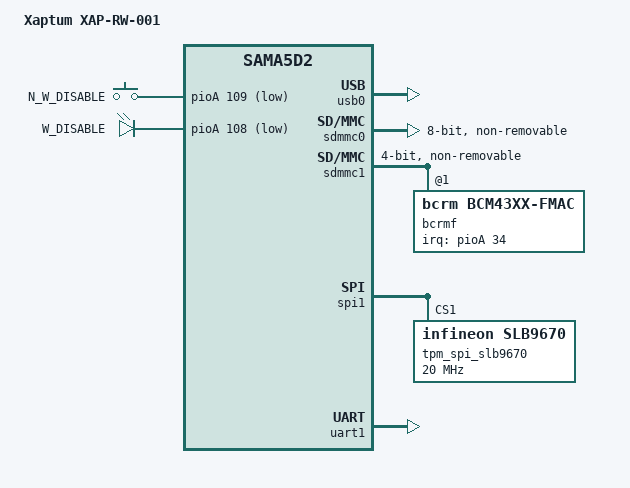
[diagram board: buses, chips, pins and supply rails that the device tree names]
/*
 * at91-sama5d2_xpt_mpcie.dts - Device Tree file for SAMA5D2 Xaptum mPCIe OC
 *
 * DAB-Embedded, 2018
 */

/dts-v1/;

#include "sama5d2.dtsi"
#include "sama5d2-pinfunc.h"
#include <dt-bindings/mfd/atmel-flexcom.h>
#include <dt-bindings/gpio/gpio.h>
#include <dt-bindings/pinctrl/at91.h>

/ {
	model = "Xaptum XAP-RW-001";
	compatible = "xaptum,xaprw001", "xaptum,xaprc001", "atmel,sama5d2", "atmel,sama5";

	chosen {
		stdout-path = "serial0:115200n8";
	};

	clocks {
		slow_xtal {
			clock-frequency = <32768>;
		};

		main_xtal {
			clock-frequency = <12000000>;
		};
	};

	ahb {
		usb0: gadget@00300000 {
			status = "okay";
		};

		usb1: ohci@00400000 {
			num-ports = <3>;
			status = "disabled";
		};

		usb2: ehci@00500000 {
			status = "disabled";
		};

		sdmmc0: sdio-host@a0000000 {
			bus-width = <8>;
			pinctrl-names = "default";
			pinctrl-0 = <&pinctrl_sdmmc0_default>;
			non-removable;
			mmc-ddr-1_8v;
			disable-wp;
			status = "okay";
		};

		sdmmc1: sdio-host@b0000000 {
			bus-width = <4>;
			pinctrl-names = "default";
			pinctrl-0 = <&pinctrl_sdmmc1_default>;
			disable-wp;
			non-removable;
			status = "okay";

			bcrmf: bcrmf@1 {
				reg = <1>;
				compatible = "bcrm,bcm43xx-fmac";
				interrupt-parent = <&pioA>;
				interrupts = <34 0>;
				interrupt-names = "host-wake";
				pinctrl-names = "default";
				pinctrl-0 = <&pinctrl_cyw4339_default>;
			};
		};

		apb {
			pmc: pmc@f0014000 {
				pmc_fast_restart {
					compatible = "atmel,sama5d2-pmc-fast-startup";
					#address-cells = <1>;
					#size-cells = <0>;

					atmel,wakeup-rtc-timer;

					wkpin: input@0 {
						reg = <0>;
					};
				};
			};

			spi1: spi@fc000000 {
				pinctrl-names = "default";
				pinctrl-0 = <&pinctrl_spi1_default>;
				status = "okay";

				tpm_spi_slb9670@1{
					compatible = "infineon,slb9670";
					reg = <1>;	/* CS1 */
					pinctrl-names = "default";
					pinctrl-0 = <&pinctrl_tpm_default>;
					spi-max-frequency = <20000000>;
				};
			};

			uart1: serial@f8020000 {
				pinctrl-names = "default";
				pinctrl-0 = <&pinctrl_uart1_default>;
				atmel,use-dma-rx;
				atmel,use-dma-tx;
				status = "okay";
			};

			pwm0: pwm@f802c000 {
				status = "disabled";
			};

			shdwc@f8048010 {
				atmel,shdwc-debouncer = <976>;
				atmel,wakeup-rtc-timer;

				input@0 {
					reg = <0>;
					atmel,wakeup-type = "low";
				};
			};

			watchdog@f8048040 {
				status = "okay";
			};

			pinctrl@fc038000 {
				pinctrl_key_gpio_default: key_gpio_default {
					pinmux = <PIN_PD13__GPIO>;
					bias-pull-up;
				};

				pinctrl_led_gpio_default: led_gpio_default {
					pinmux = <PIN_PD12__GPIO>;
					bias-pull-up;
				};

				pinctrl_sdmmc0_default: sdmmc0_default {
					cmd_data {
						pinmux = <PIN_PA1__SDMMC0_CMD>,
							 <PIN_PA2__SDMMC0_DAT0>,
							 <PIN_PA3__SDMMC0_DAT1>,
							 <PIN_PA4__SDMMC0_DAT2>,
							 <PIN_PA5__SDMMC0_DAT3>,
							 <PIN_PA6__SDMMC0_DAT4>,
							 <PIN_PA7__SDMMC0_DAT5>,
							 <PIN_PA8__SDMMC0_DAT6>,
							 <PIN_PA9__SDMMC0_DAT7>,
							 <PIN_PA0__SDMMC0_CK>,
							 <PIN_PA10__SDMMC0_RSTN>;
						bias-disable;
					};
				};

				pinctrl_sdmmc1_default: sdmmc1_default {
					cmd_data {
						pinmux = <PIN_PA28__SDMMC1_CMD>,
							 <PIN_PA18__SDMMC1_DAT0>,
							 <PIN_PA19__SDMMC1_DAT1>,
							 <PIN_PA20__SDMMC1_DAT2>,
							 <PIN_PA21__SDMMC1_DAT3>,
                                                         <PIN_PA22__SDMMC1_CK>;
						bias-disable;
					};
				};

				pinctrl_spi1_default: spi1_default {
					pinmux = <PIN_PD25__SPI1_SPCK>,
						 <PIN_PD26__SPI1_MOSI>,
						 <PIN_PD27__SPI1_MISO>,
						 <PIN_PD28__SPI1_NPCS0>,
						 <PIN_PD29__SPI1_NPCS1>;
					bias-disable;
				};

				pinctrl_uart1_default: uart1_default {
					pinmux = <PIN_PD2__URXD1>,
						 <PIN_PD3__UTXD1>;
					bias-disable;
				};

				pinctrl_tpm_default: tmp_default {
					pinmux = <PIN_PD21__GPIO>,
						 <PIN_PD22__GPIO>,
						 <PIN_PD23__GPIO>;
					bias-disable;
				};

				pinctrl_cyw4339_default: cyw4339_default {
					pinmux = <PIN_PB13__PCK1>,
					         <PIN_PB2__GPIO>,
					         <PIN_PB4__GPIO>,
						 <PIN_PB5__GPIO>,
						 <PIN_PB6__GPIO>,
						 <PIN_PB7__GPIO>;
					bias-disable;
				};

			};
		};
	};

	gpio_keys {
		compatible = "gpio-keys";

		pinctrl-names = "default";
		pinctrl-0 = <&pinctrl_key_gpio_default>;

		bp1 {
			label = "N_W_DISABLE";
			gpios = <&pioA 109 GPIO_ACTIVE_LOW>;
			linux,code = <0x104>;
			wakeup-source;
		};
	};

	leds {
		compatible = "gpio-leds";
		pinctrl-names = "default";
		pinctrl-0 = <&pinctrl_led_gpio_default>;
		status = "okay";

		w_disable {
			label = "W_DISABLE";
			gpios = <&pioA 108 GPIO_ACTIVE_LOW>;
			linux,default-trigger = "heartbeat";
		};
	};
};
